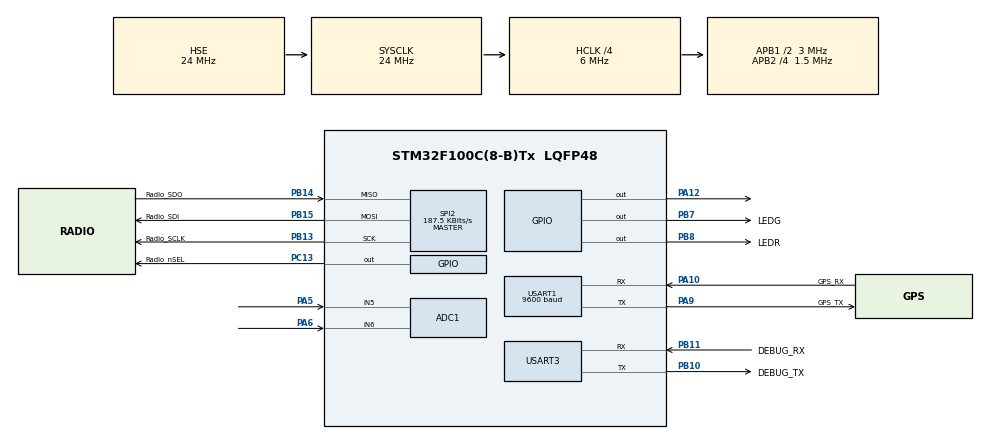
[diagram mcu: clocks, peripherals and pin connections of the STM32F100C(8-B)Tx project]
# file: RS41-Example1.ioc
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ADC1.Channel-5\#ChannelRegularConversion=ADC_CHANNEL_5
ADC1.Channel-6\#ChannelRegularConversion=ADC_CHANNEL_6
ADC1.ContinuousConvMode=ENABLE
ADC1.DataAlign=ADC_DATAALIGN_RIGHT
ADC1.DiscontinuousConvMode=DISABLE
ADC1.EnableAnalogWatchDog=false
ADC1.EnableRegularConversion=ENABLE
ADC1.ExternalTrigConv=ADC_SOFTWARE_START
ADC1.InjNumberOfConversion=0
ADC1.NbrOfConversion=2
ADC1.NbrOfConversionFlag=1
ADC1.Rank-5\#ChannelRegularConversion=1
ADC1.Rank-6\#ChannelRegularConversion=2
ADC1.SamplingTime-5\#ChannelRegularConversion=ADC_SAMPLETIME_28CYCLES_5
ADC1.SamplingTime-6\#ChannelRegularConversion=ADC_SAMPLETIME_28CYCLES_5
ADC1.ScanConvMode=ADC_SCAN_ENABLE
ADC1.master=1
Dma.ADC1.0.Direction=DMA_PERIPH_TO_MEMORY
Dma.ADC1.0.Instance=DMA1_Channel1
Dma.ADC1.0.MemDataAlignment=DMA_MDATAALIGN_HALFWORD
Dma.ADC1.0.MemInc=DMA_MINC_ENABLE
Dma.ADC1.0.Mode=DMA_CIRCULAR
Dma.ADC1.0.PeriphDataAlignment=DMA_PDATAALIGN_HALFWORD
Dma.ADC1.0.PeriphInc=DMA_PINC_DISABLE
Dma.ADC1.0.Priority=DMA_PRIORITY_HIGH
Dma.Request0=ADC1
Dma.Request1=USART1_RX
Dma.Request2=USART1_TX
Dma.Request3=USART3_RX
Dma.Request4=USART3_TX
Dma.USART1_RX.1.Direction=DMA_PERIPH_TO_MEMORY
Dma.USART1_RX.1.Instance=DMA1_Channel5
Dma.USART1_RX.1.MemDataAlignment=DMA_MDATAALIGN_BYTE
Dma.USART1_RX.1.MemInc=DMA_MINC_ENABLE
Dma.USART1_RX.1.Mode=DMA_NORMAL
Dma.USART1_RX.1.PeriphDataAlignment=DMA_PDATAALIGN_BYTE
Dma.USART1_RX.1.PeriphInc=DMA_PINC_DISABLE
Dma.USART1_RX.1.Priority=DMA_PRIORITY_LOW
Dma.USART1_TX.2.Direction=DMA_MEMORY_TO_PERIPH
Dma.USART1_TX.2.Instance=DMA1_Channel4
Dma.USART1_TX.2.MemDataAlignment=DMA_MDATAALIGN_BYTE
Dma.USART1_TX.2.MemInc=DMA_MINC_ENABLE
Dma.USART1_TX.2.Mode=DMA_NORMAL
Dma.USART1_TX.2.PeriphDataAlignment=DMA_PDATAALIGN_BYTE
Dma.USART1_TX.2.PeriphInc=DMA_PINC_DISABLE
Dma.USART1_TX.2.Priority=DMA_PRIORITY_LOW
Dma.USART3_RX.3.Direction=DMA_PERIPH_TO_MEMORY
Dma.USART3_RX.3.Instance=DMA1_Channel3
Dma.USART3_RX.3.MemDataAlignment=DMA_MDATAALIGN_BYTE
Dma.USART3_RX.3.MemInc=DMA_MINC_ENABLE
Dma.USART3_RX.3.Mode=DMA_NORMAL
Dma.USART3_RX.3.PeriphDataAlignment=DMA_PDATAALIGN_BYTE
Dma.USART3_RX.3.PeriphInc=DMA_PINC_DISABLE
Dma.USART3_RX.3.Priority=DMA_PRIORITY_LOW
Dma.USART3_TX.4.Direction=DMA_MEMORY_TO_PERIPH
Dma.USART3_TX.4.Instance=DMA1_Channel2
Dma.USART3_TX.4.MemDataAlignment=DMA_MDATAALIGN_BYTE
Dma.USART3_TX.4.MemInc=DMA_MINC_ENABLE
Dma.USART3_TX.4.Mode=DMA_NORMAL
Dma.USART3_TX.4.PeriphDataAlignment=DMA_PDATAALIGN_BYTE
Dma.USART3_TX.4.PeriphInc=DMA_PINC_DISABLE
Dma.USART3_TX.4.Priority=DMA_PRIORITY_LOW
Mcu.Family=STM32F1
Mcu.Name=STM32F100C(8-B)Tx
Mcu.Package=LQFP48
Mcu.UserConstants=RTTY_BAUDRATE,75
NVIC.DMA1_Channel1_IRQn=true\:0\:0\:false\:false\:true\:false
NVIC.DMA1_Channel2_IRQn=true\:0\:0\:false\:false\:true\:false
NVIC.DMA1_Channel3_IRQn=true\:0\:0\:false\:false\:true\:false
NVIC.DMA1_Channel4_IRQn=true\:0\:0\:false\:false\:true\:false
NVIC.DMA1_Channel5_IRQn=true\:0\:0\:false\:false\:true\:false
NVIC.PriorityGroup=NVIC_PRIORITYGROUP_4
NVIC.TIM2_IRQn=true\:0\:0\:false\:false\:true\:true
NVIC.USART1_IRQn=true\:0\:0\:false\:false\:true\:true
NVIC.USART3_IRQn=true\:0\:0\:false\:false\:true\:true
PA10.GPIO_Label=GPS_RX
PA10.Mode=Asynchronous
PA10.Signal=USART1_RX
PA12.GPIO_Speed=GPIO_SPEED_FREQ_MEDIUM
PA12.Signal=GPIO_Output
PA13.Mode=Serial_Wire
PA13.Signal=SYS_JTMS-SWDIO
PA14.Mode=Serial_Wire
PA14.Signal=SYS_JTCK-SWCLK
PA5.Signal=ADCx_IN5
PA6.Signal=ADCx_IN6
PA9.GPIO_Label=GPS_TX
PA9.GPIO_Speed=GPIO_SPEED_FREQ_MEDIUM
PA9.Mode=Asynchronous
PA9.Signal=USART1_TX
PB10.GPIO_Label=DEBUG_TX
PB10.GPIO_Speed=GPIO_SPEED_FREQ_MEDIUM
PB10.Mode=Asynchronous
PB10.Signal=USART3_TX
PB11.GPIO_Label=DEBUG_RX
PB11.Mode=Asynchronous
PB11.Signal=USART3_RX
PB13.GPIO_Label=Radio_SCLK
PB13.GPIO_Speed=GPIO_SPEED_FREQ_MEDIUM
PB13.Mode=Full_Duplex_Master
PB13.Signal=SPI2_SCK
PB14.GPIO_Label=Radio_SDO
PB14.Mode=Full_Duplex_Master
PB14.Signal=SPI2_MISO
PB15.GPIO_Label=Radio_SDI
PB15.GPIO_Speed=GPIO_SPEED_FREQ_MEDIUM
PB15.Mode=Full_Duplex_Master
PB15.Signal=SPI2_MOSI
PB7.GPIO_Label=LEDG
PB7.GPIO_Speed=GPIO_SPEED_FREQ_MEDIUM
PB7.Signal=GPIO_Output
PB8.GPIO_Label=LEDR
PB8.GPIO_Speed=GPIO_SPEED_FREQ_MEDIUM
PB8.Signal=GPIO_Output
PC13-TAMPER-RTC.GPIO_Label=Radio_nSEL
PC13-TAMPER-RTC.GPIO_Speed=GPIO_SPEED_FREQ_MEDIUM
PC13-TAMPER-RTC.Signal=GPIO_Output
PD0-OSC_IN.Mode=HSE-External-Oscillator
PD0-OSC_IN.Signal=RCC_OSC_IN
PD1-OSC_OUT.Mode=HSE-External-Oscillator
PD1-OSC_OUT.Signal=RCC_OSC_OUT
ProjectManager.HeapSize=0x200
ProjectManager.StackSize=0x400
ProjectManager.TargetToolchain=SW4STM32
RCC.AHBCLKDivider=RCC_SYSCLK_DIV4
RCC.AHBFreq_Value=6000000
RCC.APB1CLKDivider=RCC_HCLK_DIV2
RCC.APB1Freq_Value=3000000
RCC.APB1TimFreq_Value=6000000
RCC.APB2CLKDivider=RCC_HCLK_DIV4
RCC.APB2Freq_Value=1500000
RCC.APB2TimFreq_Value=3000000
RCC.EnbaleCSS=true
RCC.HCLKFreq_Value=6000000
RCC.HSE_VALUE=24000000
RCC.SYSCLKFreq_VALUE=24000000
RCC.SYSCLKSource=RCC_SYSCLKSOURCE_HSE
SH.ADCx_IN5.0=ADC1_IN5,IN5
SH.ADCx_IN6.0=ADC1_IN6,IN6
SPI2.BaudRatePrescaler=SPI_BAUDRATEPRESCALER_16
SPI2.CalculateBaudRate=187.5 KBits/s
SPI2.DataSize=SPI_DATASIZE_16BIT
SPI2.Direction=SPI_DIRECTION_2LINES
SPI2.Mode=SPI_MODE_MASTER
SPI2.VirtualType=VM_MASTER
TIM2.Period=(1000000 / RTTY_BAUDRATE) - 1
TIM2.Prescaler=6-1
USART1.BaudRate=9600
USART1.VirtualMode=VM_ASYNC
USART3.VirtualMode=VM_ASYNC
VP_TIM2_VS_ClockSourceINT.Mode=Internal
board=RS41-Example1

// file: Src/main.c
/**
  ******************************************************************************
  * @file           : main.c
  * @brief          : Main program body
  ******************************************************************************
  ** This notice applies to any and all portions of this file
  * that are not between comment pairs USER CODE BEGIN and
  * USER CODE END. Other portions of this file, whether
  * inserted by the user or by software development tools
  * are owned by their respective copyright owners.
  *
  * COPYRIGHT(c) 2018 STMicroelectronics
  *
  * Redistribution and use in source and binary forms, with or without modification,
  * are permitted provided that the following conditions are met:
  *   1. Redistributions of source code must retain the above copyright notice,
  *      this list of conditions and the following disclaimer.
  *   2. Redistributions in binary form must reproduce the above copyright notice,
  *      this list of conditions and the following disclaimer in the documentation
  *      and/or other materials provided with the distribution.
  *   3. Neither the name of STMicroelectronics nor the names of its contributors
  *      may be used to endorse or promote products derived from this software
  *      without specific prior written permission.
  *
  * THIS SOFTWARE IS PROVIDED BY THE COPYRIGHT HOLDERS AND CONTRIBUTORS "AS IS"
  * AND ANY EXPRESS OR IMPLIED WARRANTIES, INCLUDING, BUT NOT LIMITED TO, THE
  * IMPLIED WARRANTIES OF MERCHANTABILITY AND FITNESS FOR A PARTICULAR PURPOSE ARE
  * DISCLAIMED. IN NO EVENT SHALL THE COPYRIGHT HOLDER OR CONTRIBUTORS BE LIABLE
  * FOR ANY DIRECT, INDIRECT, INCIDENTAL, SPECIAL, EXEMPLARY, OR CONSEQUENTIAL
  * DAMAGES (INCLUDING, BUT NOT LIMITED TO, PROCUREMENT OF SUBSTITUTE GOODS OR
  * SERVICES; LOSS OF USE, DATA, OR PROFITS; OR BUSINESS INTERRUPTION) HOWEVER
  * CAUSED AND ON ANY THEORY OF LIABILITY, WHETHER IN CONTRACT, STRICT LIABILITY,
  * OR TORT (INCLUDING NEGLIGENCE OR OTHERWISE) ARISING IN ANY WAY OUT OF THE USE
  * OF THIS SOFTWARE, EVEN IF ADVISED OF THE POSSIBILITY OF SUCH DAMAGE.
  *
  ******************************************************************************
  */
#include "main.h"
#include "stm32f1xx_hal.h"

/* USER CODE BEGIN Includes */
#include <stdint.h>
#include <string.h>
#include "ublox.h"
/* USER CODE END Includes */

ADC_HandleTypeDef hadc1;
DMA_HandleTypeDef hdma_adc1;

SPI_HandleTypeDef hspi2;

TIM_HandleTypeDef htim2;

UART_HandleTypeDef huart1;
UART_HandleTypeDef huart3;
DMA_HandleTypeDef hdma_usart1_rx;
DMA_HandleTypeDef hdma_usart1_tx;
DMA_HandleTypeDef hdma_usart3_rx;
DMA_HandleTypeDef hdma_usart3_tx;

/* USER CODE BEGIN PV */
/* Private variables ---------------------------------------------------------*/
typedef struct {
	UART_HandleTypeDef* uart;
	int txFinished;
} uartStatus;

uint8_t UART1ByteBuffer;
uint8_t UART3ByteBuffer;
uartStatus uart1Status;
uartStatus uart3Status;
/* USER CODE END PV */

void SystemClock_Config(void);
static void MX_GPIO_Init(void);
static void MX_DMA_Init(void);
static void MX_ADC1_Init(void);
static void MX_SPI2_Init(void);
static void MX_TIM2_Init(void);
static void MX_USART1_UART_Init(void);
static void MX_USART3_UART_Init(void);

/* USER CODE BEGIN PFP */
/* Private function prototypes -----------------------------------------------*/
void HAL_UART_RxCpltCallback(UART_HandleTypeDef*);
void UART_TxStart(UART_HandleTypeDef*);
int UART_TxFinished(UART_HandleTypeDef*);
void UART_ReInit(UART_HandleTypeDef*, uint32_t);
/* USER CODE END PFP */

int main(void)
{

  /* MCU Configuration----------------------------------------------------------*/

  /* Reset of all peripherals, Initializes the Flash interface and the Systick. */
  HAL_Init();

  /* Configure the system clock */
  SystemClock_Config();

  /* Initialize all configured peripherals */
  MX_GPIO_Init();
  MX_DMA_Init();
  MX_ADC1_Init();
  MX_SPI2_Init();
  MX_TIM2_Init();
  MX_USART1_UART_Init();
  MX_USART3_UART_Init();
  /* USER CODE BEGIN 2 */
    uart1Status.uart = &huart1;
    uart1Status.txFinished = 1;
    uart3Status.uart = &huart3;
    uart3Status.txFinished = 1;

  	uint8_t initMsg[] = "FW started\r\n\r\n";
	//HAL_UART_Transmit_DMA(&huart3, initMsg, sizeof(initMsg));
	//HAL_UART_Receive_DMA(&huart1, &UART1ByteBuffer, 1);
	//HAL_UART_Receive_DMA(&huart3, &UART3ByteBuffer, 1);
	//HAL_GPIO_WritePin(LEDG_GPIO_Port, LEDG_Pin, GPIO_PIN_SET);
	HAL_GPIO_WritePin(LEDR_GPIO_Port, LEDR_Pin, GPIO_PIN_SET);

	ubxInit(&huart1);
	HAL_UART_Receive_DMA(&huart1, &UART1ByteBuffer, 1);
	ubxGPSData gpsData;
	char gpsInfoString[100];
  /* USER CODE END 2 */

  /* Infinite loop */
  while (1)
  {

  /* USER CODE BEGIN 3 */
	  HAL_GPIO_TogglePin(LEDR_GPIO_Port, LEDR_Pin);

	  gpsData = ubxLastGPSData();
	  sprintf(gpsInfoString, "%.6lf : %.6lf : %c\r\n", gpsData.lat/10000000.0, gpsData.lon/10000000.0, (gpsData.fix)?'F':'X');
	  HAL_UART_Transmit_DMA(&huart3, (uint8_t*)gpsInfoString, strlen(gpsInfoString));

	  HAL_Delay(500);
  }
  /* USER CODE END 3 */

}

void SystemClock_Config(void)
{

  RCC_OscInitTypeDef RCC_OscInitStruct;
  RCC_ClkInitTypeDef RCC_ClkInitStruct;
  RCC_PeriphCLKInitTypeDef PeriphClkInit;

    /**Initializes the CPU, AHB and APB busses clocks
    */
  RCC_OscInitStruct.OscillatorType = RCC_OSCILLATORTYPE_HSE;
  RCC_OscInitStruct.HSEState = RCC_HSE_ON;
  RCC_OscInitStruct.PLL.PLLState = RCC_PLL_NONE;
  if (HAL_RCC_OscConfig(&RCC_OscInitStruct) != HAL_OK)
  {
    _Error_Handler(__FILE__, __LINE__);
  }

    /**Initializes the CPU, AHB and APB busses clocks
    */
  RCC_ClkInitStruct.ClockType = RCC_CLOCKTYPE_HCLK|RCC_CLOCKTYPE_SYSCLK
                              |RCC_CLOCKTYPE_PCLK1|RCC_CLOCKTYPE_PCLK2;
  RCC_ClkInitStruct.SYSCLKSource = RCC_SYSCLKSOURCE_HSE;
  RCC_ClkInitStruct.AHBCLKDivider = RCC_SYSCLK_DIV4;
  RCC_ClkInitStruct.APB1CLKDivider = RCC_HCLK_DIV2;
  RCC_ClkInitStruct.APB2CLKDivider = RCC_HCLK_DIV4;

  if (HAL_RCC_ClockConfig(&RCC_ClkInitStruct, FLASH_LATENCY_0) != HAL_OK)
  {
    _Error_Handler(__FILE__, __LINE__);
  }

  PeriphClkInit.PeriphClockSelection = RCC_PERIPHCLK_ADC;
  PeriphClkInit.AdcClockSelection = RCC_ADCPCLK2_DIV2;
  if (HAL_RCCEx_PeriphCLKConfig(&PeriphClkInit) != HAL_OK)
  {
    _Error_Handler(__FILE__, __LINE__);
  }

    /**Enables the Clock Security System
    */
  HAL_RCC_EnableCSS();

    /**Configure the Systick interrupt time
    */
  HAL_SYSTICK_Config(HAL_RCC_GetHCLKFreq()/1000);

    /**Configure the Systick
    */
  HAL_SYSTICK_CLKSourceConfig(SYSTICK_CLKSOURCE_HCLK);

  /* SysTick_IRQn interrupt configuration */
  HAL_NVIC_SetPriority(SysTick_IRQn, 0, 0);
}

/* ADC1 init function */
static void MX_ADC1_Init(void)
{

  ADC_ChannelConfTypeDef sConfig;

    /**Common config
    */
  hadc1.Instance = ADC1;
  hadc1.Init.ScanConvMode = ADC_SCAN_ENABLE;
  hadc1.Init.ContinuousConvMode = ENABLE;
  hadc1.Init.DiscontinuousConvMode = DISABLE;
  hadc1.Init.ExternalTrigConv = ADC_SOFTWARE_START;
  hadc1.Init.DataAlign = ADC_DATAALIGN_RIGHT;
  hadc1.Init.NbrOfConversion = 2;
  if (HAL_ADC_Init(&hadc1) != HAL_OK)
  {
    _Error_Handler(__FILE__, __LINE__);
  }

    /**Configure Regular Channel
    */
  sConfig.Channel = ADC_CHANNEL_5;
  sConfig.Rank = ADC_REGULAR_RANK_1;
  sConfig.SamplingTime = ADC_SAMPLETIME_28CYCLES_5;
  if (HAL_ADC_ConfigChannel(&hadc1, &sConfig) != HAL_OK)
  {
    _Error_Handler(__FILE__, __LINE__);
  }

    /**Configure Regular Channel
    */
  sConfig.Channel = ADC_CHANNEL_6;
  sConfig.Rank = ADC_REGULAR_RANK_2;
  if (HAL_ADC_ConfigChannel(&hadc1, &sConfig) != HAL_OK)
  {
    _Error_Handler(__FILE__, __LINE__);
  }

}

/* SPI2 init function */
static void MX_SPI2_Init(void)
{

  /* SPI2 parameter configuration*/
  hspi2.Instance = SPI2;
  hspi2.Init.Mode = SPI_MODE_MASTER;
  hspi2.Init.Direction = SPI_DIRECTION_2LINES;
  hspi2.Init.DataSize = SPI_DATASIZE_16BIT;
  hspi2.Init.CLKPolarity = SPI_POLARITY_LOW;
  hspi2.Init.CLKPhase = SPI_PHASE_1EDGE;
  hspi2.Init.NSS = SPI_NSS_SOFT;
  hspi2.Init.BaudRatePrescaler = SPI_BAUDRATEPRESCALER_16;
  hspi2.Init.FirstBit = SPI_FIRSTBIT_MSB;
  hspi2.Init.TIMode = SPI_TIMODE_DISABLE;
  hspi2.Init.CRCCalculation = SPI_CRCCALCULATION_DISABLE;
  hspi2.Init.CRCPolynomial = 10;
  if (HAL_SPI_Init(&hspi2) != HAL_OK)
  {
    _Error_Handler(__FILE__, __LINE__);
  }

}

/* TIM2 init function */
static void MX_TIM2_Init(void)
{

  TIM_ClockConfigTypeDef sClockSourceConfig;
  TIM_MasterConfigTypeDef sMasterConfig;

  htim2.Instance = TIM2;
  htim2.Init.Prescaler = 6-1;
  htim2.Init.CounterMode = TIM_COUNTERMODE_UP;
  htim2.Init.Period = (1000000 / RTTY_BAUDRATE) - 1;
  htim2.Init.ClockDivision = TIM_CLOCKDIVISION_DIV1;
  htim2.Init.AutoReloadPreload = TIM_AUTORELOAD_PRELOAD_DISABLE;
  if (HAL_TIM_Base_Init(&htim2) != HAL_OK)
  {
    _Error_Handler(__FILE__, __LINE__);
  }

  sClockSourceConfig.ClockSource = TIM_CLOCKSOURCE_INTERNAL;
  if (HAL_TIM_ConfigClockSource(&htim2, &sClockSourceConfig) != HAL_OK)
  {
    _Error_Handler(__FILE__, __LINE__);
  }

  sMasterConfig.MasterOutputTrigger = TIM_TRGO_RESET;
  sMasterConfig.MasterSlaveMode = TIM_MASTERSLAVEMODE_DISABLE;
  if (HAL_TIMEx_MasterConfigSynchronization(&htim2, &sMasterConfig) != HAL_OK)
  {
    _Error_Handler(__FILE__, __LINE__);
  }

}

/* USART1 init function */
static void MX_USART1_UART_Init(void)
{

  huart1.Instance = USART1;
  huart1.Init.BaudRate = 9600;
  huart1.Init.WordLength = UART_WORDLENGTH_8B;
  huart1.Init.StopBits = UART_STOPBITS_1;
  huart1.Init.Parity = UART_PARITY_NONE;
  huart1.Init.Mode = UART_MODE_TX_RX;
  huart1.Init.HwFlowCtl = UART_HWCONTROL_NONE;
  huart1.Init.OverSampling = UART_OVERSAMPLING_16;
  if (HAL_UART_Init(&huart1) != HAL_OK)
  {
    _Error_Handler(__FILE__, __LINE__);
  }

}

/* USART3 init function */
static void MX_USART3_UART_Init(void)
{

  huart3.Instance = USART3;
  huart3.Init.BaudRate = 115200;
  huart3.Init.WordLength = UART_WORDLENGTH_8B;
  huart3.Init.StopBits = UART_STOPBITS_1;
  huart3.Init.Parity = UART_PARITY_NONE;
  huart3.Init.Mode = UART_MODE_TX_RX;
  huart3.Init.HwFlowCtl = UART_HWCONTROL_NONE;
  huart3.Init.OverSampling = UART_OVERSAMPLING_16;
  if (HAL_UART_Init(&huart3) != HAL_OK)
  {
    _Error_Handler(__FILE__, __LINE__);
  }

}

static void MX_DMA_Init(void)
{
  /* DMA controller clock enable */
  __HAL_RCC_DMA1_CLK_ENABLE();

  /* DMA interrupt init */
  /* DMA1_Channel1_IRQn interrupt configuration */
  HAL_NVIC_SetPriority(DMA1_Channel1_IRQn, 0, 0);
  HAL_NVIC_EnableIRQ(DMA1_Channel1_IRQn);
  /* DMA1_Channel2_IRQn interrupt configuration */
  HAL_NVIC_SetPriority(DMA1_Channel2_IRQn, 0, 0);
  HAL_NVIC_EnableIRQ(DMA1_Channel2_IRQn);
  /* DMA1_Channel3_IRQn interrupt configuration */
  HAL_NVIC_SetPriority(DMA1_Channel3_IRQn, 0, 0);
  HAL_NVIC_EnableIRQ(DMA1_Channel3_IRQn);
  /* DMA1_Channel4_IRQn interrupt configuration */
  HAL_NVIC_SetPriority(DMA1_Channel4_IRQn, 0, 0);
  HAL_NVIC_EnableIRQ(DMA1_Channel4_IRQn);
  /* DMA1_Channel5_IRQn interrupt configuration */
  HAL_NVIC_SetPriority(DMA1_Channel5_IRQn, 0, 0);
  HAL_NVIC_EnableIRQ(DMA1_Channel5_IRQn);

}

/** Configure pins as
        * Analog
        * Input
        * Output
        * EVENT_OUT
        * EXTI
*/
static void MX_GPIO_Init(void)
{

  GPIO_InitTypeDef GPIO_InitStruct;

  /* GPIO Ports Clock Enable */
  __HAL_RCC_GPIOC_CLK_ENABLE();
  __HAL_RCC_GPIOD_CLK_ENABLE();
  __HAL_RCC_GPIOA_CLK_ENABLE();
  __HAL_RCC_GPIOB_CLK_ENABLE();

  /*Configure GPIO pin Output Level */
  HAL_GPIO_WritePin(Radio_nSEL_GPIO_Port, Radio_nSEL_Pin, GPIO_PIN_RESET);

  /*Configure GPIO pin Output Level */
  HAL_GPIO_WritePin(GPIOA, GPIO_PIN_12, GPIO_PIN_RESET);

  /*Configure GPIO pin Output Level */
  HAL_GPIO_WritePin(GPIOB, LEDG_Pin|LEDR_Pin, GPIO_PIN_RESET);

  /*Configure GPIO pin : Radio_nSEL_Pin */
  GPIO_InitStruct.Pin = Radio_nSEL_Pin;
  GPIO_InitStruct.Mode = GPIO_MODE_OUTPUT_PP;
  GPIO_InitStruct.Speed = GPIO_SPEED_FREQ_MEDIUM;
  HAL_GPIO_Init(Radio_nSEL_GPIO_Port, &GPIO_InitStruct);

  /*Configure GPIO pin : PA12 */
  GPIO_InitStruct.Pin = GPIO_PIN_12;
  GPIO_InitStruct.Mode = GPIO_MODE_OUTPUT_PP;
  GPIO_InitStruct.Speed = GPIO_SPEED_FREQ_MEDIUM;
  HAL_GPIO_Init(GPIOA, &GPIO_InitStruct);

  /*Configure GPIO pins : LEDG_Pin LEDR_Pin */
  GPIO_InitStruct.Pin = LEDG_Pin|LEDR_Pin;
  GPIO_InitStruct.Mode = GPIO_MODE_OUTPUT_PP;
  GPIO_InitStruct.Speed = GPIO_SPEED_FREQ_MEDIUM;
  HAL_GPIO_Init(GPIOB, &GPIO_InitStruct);

}

/* USER CODE BEGIN 4 */

/* Sets TX flag for UART */
void UART_TxStart(UART_HandleTypeDef *huart) {
	if (huart == uart1Status.uart) {
		uart1Status.txFinished = 0;
	} else if (huart == uart3Status.uart) {
		uart3Status.txFinished = 0;
	}
}

/* Returns 1 if specified UART is done transmitting */
int UART_TxFinished(UART_HandleTypeDef *huart) {
	if (huart == uart1Status.uart) {
		return uart1Status.txFinished;
	} else if (huart == uart3Status.uart) {
		return uart3Status.txFinished;
	}
	return 0;
}

/* Resets UART with specified baud */
void UART_ReInit(UART_HandleTypeDef *huart, uint32_t baud) {
	HAL_UART_DMAStop(huart);
	HAL_UART_DeInit(huart);
	huart->Init.BaudRate = baud;
	if (HAL_UART_Init(huart) != HAL_OK) {
		_Error_Handler(__FILE__, __LINE__);
	} else {
		if (huart->Instance == USART1) {
			HAL_UART_Receive_DMA(&huart1, &UART1ByteBuffer, 1);
		} else if (huart->Instance == USART3) {
			HAL_UART_Receive_DMA(&huart3, &UART3ByteBuffer, 1);
		}
	}
}

/* Callback to read data from any UART */
void HAL_UART_RxCpltCallback(UART_HandleTypeDef *huart) {
	if (huart->Instance == USART1) {
		ubxRxByte(UART1ByteBuffer);
		//HAL_UART_Transmit_DMA(&huart3, &UART1ByteBuffer, 1);
		HAL_UART_Receive_DMA(&huart1, &UART1ByteBuffer, 1);
	} else if (huart->Instance == USART3) {
		HAL_UART_Receive_DMA(&huart3, &UART3ByteBuffer, 1);
	}
}

/* Callback after data write to any UART */
void HAL_UART_TxCpltCallback(UART_HandleTypeDef *huart){
	if (huart == uart1Status.uart) {
		uart1Status.txFinished = 1;
	} else if (huart == uart3Status.uart) {
		uart3Status.txFinished = 1;
	}
}
/* USER CODE END 4 */

void _Error_Handler(char *file, int line)
{
  while(1)
  {
  }
}

/************************ (C) COPYRIGHT STMicroelectronics *****END OF FILE****/
